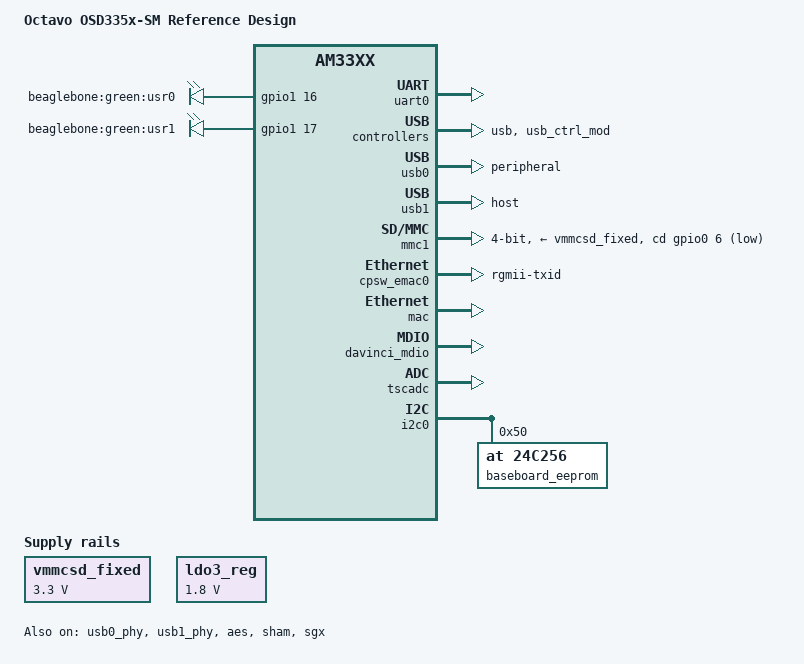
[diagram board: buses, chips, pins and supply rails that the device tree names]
/dts-v1/;

#include "osd335x-sm.dtsi"

/ {

	leds {
		pinctrl-names = "default", "sleep";
		pinctrl-0 = <&user_leds_default>;
		pinctrl-1 = <&user_leds_sleep>;

		compatible = "gpio-leds";

		led@2 {
			label = "beaglebone:green:usr0";
			gpios = <&gpio1 16 GPIO_ACTIVE_HIGH>;
			linux,default-trigger = "mmc0";
			default-state = "off";
		};

		led@3 {
			label = "beaglebone:green:usr1";
			gpios = <&gpio1 17 GPIO_ACTIVE_HIGH>;
			linux,default-trigger = "cpu0";
			default-state = "off";
		};
	};

	vmmcsd_fixed: fixedregulator@0 {
		compatible = "regulator-fixed";
		regulator-name = "vmmcsd_fixed";
		regulator-min-microvolt = <3300000>;
		regulator-max-microvolt = <3300000>;
	};
};

&uart0 {
	pinctrl-names = "default";
	pinctrl-0 = <&uart0_pins>;

	status = "okay";
};

&usb {
	status = "okay";
};

&usb_ctrl_mod {
	status = "okay";
};

&usb0_phy {
	status = "okay";
};

&usb1_phy {
	status = "okay";
};

&usb0 {
	status = "okay";
	dr_mode = "peripheral";
};

&usb1 {
	status = "okay";
	dr_mode = "host";
};

&cppi41dma  {
	status = "okay";
};

&ldo3_reg {
	regulator-min-microvolt = <1800000>;
	regulator-max-microvolt = <1800000>;
	regulator-always-on;
};

&mmc1 {
	status = "okay";
	bus-width = <0x4>;
	pinctrl-names = "default";
	pinctrl-0 = <&mmc1_pins>;
	cd-gpios = <&gpio0 6 GPIO_ACTIVE_LOW>;
	vmmc-supply = <&vmmcsd_fixed>;
};

&cpu0_opp_table {
	/*
	 * All PG 2.0 silicon may not support 1GHz but some of the early
	 * BeagleBone Blacks have PG 2.0 silicon which is guaranteed
	 * to support 1GHz OPP so enable it for PG 2.0 on this board.
	 */
	oppnitro@1000000000 {
		opp-supported-hw = <0x06 0x0100>;
	};
};

&cpsw_emac0 {
	phy_id = <&davinci_mdio>, <4>;
	phy-mode = "rgmii-txid";
};

&mac {
	pinctrl-names = "default", "sleep";
	pinctrl-0 = <&cpsw_default>;
	pinctrl-1 = <&cpsw_sleep>;
	slaves = <1>;
	status = "okay";
};

&davinci_mdio {
	pinctrl-names = "default", "sleep";
	pinctrl-0 = <&davinci_mdio_default>;
	pinctrl-1 = <&davinci_mdio_sleep>;
	status = "okay";
};

&tscadc {
	status = "okay";
};

&am335x_adc {
	ti,adc-channels = <0 1 2 3 4 5 6 7>;
};

&aes {
	status = "okay";
};

&sham {
	status = "okay";
};

&wkup_m3_ipc {
	ti,scale-data-fw = "am335x-bone-scale-data.bin";
};

&rtc {
	/*clocks = <&clk_32768_ck>, <&clkdiv32k_ick>;
	clock-names = "ext-clk", "int-clk";*/
	system-power-controller;
};

&sgx {
	status = "okay";
};

&am33xx_pinmux {

	user_leds_default: user_leds_default {
		pinctrl-single,pins = <
			AM33XX_IOPAD(0x840, PIN_OUTPUT_PULLDOWN | MUX_MODE7)	/* gpmc_a0.gpio1_16 */
			AM33XX_IOPAD(0x844, PIN_OUTPUT_PULLDOWN | MUX_MODE7)	/* gpmc_a1.gpio1_17 */
		>;
	};

	user_leds_sleep: user_leds_sleep {
		pinctrl-single,pins = <
			AM33XX_IOPAD(0x840, PIN_OUTPUT_PULLDOWN | MUX_MODE7)	/* gpmc_a0.gpio1_16 */
			AM33XX_IOPAD(0x844, PIN_OUTPUT_PULLDOWN | MUX_MODE7)	/* gpmc_a1.gpio1_17 */
		>;
	};

	i2c0_pins: pinmux_i2c0_pins {
		pinctrl-single,pins = <
			AM33XX_IOPAD(0x988, PIN_INPUT_PULLUP | MUX_MODE0)		/* i2c0_sda.i2c0_sda */
			AM33XX_IOPAD(0x98c, PIN_INPUT_PULLUP | MUX_MODE0)		/* i2c0_scl.i2c0_scl */
		>;
	};

	uart0_pins: pinmux_uart0_pins {
		pinctrl-single,pins = <
			AM33XX_IOPAD(0x970, PIN_INPUT_PULLUP | MUX_MODE0)		/* uart0_rxd.uart0_rxd */
			AM33XX_IOPAD(0x974, PIN_OUTPUT_PULLDOWN | MUX_MODE0)	/* uart0_txd.uart0_txd */
		>;
	};

	mmc1_pins: pinmux_mmc1_pins {
		pinctrl-single,pins = <
			AM33XX_IOPAD(0x960, PIN_INPUT | MUX_MODE7) /* GPIO0_6 */
		>;
	};
	
	cpsw_default: cpsw_default {
		pinctrl-single,pins = <
			/* Slave 1 */
			AM33XX_IOPAD(0x914, PIN_OUTPUT_PULLDOWN | MUX_MODE2)	/* mii1_txen.rgmii1_tctl */
			AM33XX_IOPAD(0x918, PIN_INPUT_PULLDOWN | MUX_MODE2)		/* mii1_rxdv.rgmii1_rctl */
			AM33XX_IOPAD(0x91c, PIN_OUTPUT_PULLDOWN | MUX_MODE2)	/* mii1_txd3.rgmii1_txd3 */
			AM33XX_IOPAD(0x920, PIN_OUTPUT_PULLDOWN | MUX_MODE2)	/* mii1_txd2.rgmii1_txd2 */
			AM33XX_IOPAD(0x924, PIN_OUTPUT_PULLDOWN | MUX_MODE2)	/* mii1_txd1.rgmii1_txd1 */
			AM33XX_IOPAD(0x928, PIN_OUTPUT_PULLDOWN | MUX_MODE2)	/* mii1_txd0.rgmii1_txd0 */
			AM33XX_IOPAD(0x92c, PIN_OUTPUT_PULLDOWN | MUX_MODE2)	/* mii1_txclk.rgmii1_txclk */
			AM33XX_IOPAD(0x930, PIN_INPUT_PULLDOWN | MUX_MODE2)		/* mii1_rxclk.rgmii1_rxclk */
			AM33XX_IOPAD(0x934, PIN_INPUT_PULLDOWN | MUX_MODE2)		/* mii1_rxd3.rgmii1_rxd3 */
			AM33XX_IOPAD(0x938, PIN_INPUT_PULLDOWN | MUX_MODE2)		/* mii1_rxd2.rgmii1_rxd2 */
			AM33XX_IOPAD(0x93c, PIN_INPUT_PULLDOWN | MUX_MODE2)		/* mii1_rxd1.rgmii1_rxd1 */
			AM33XX_IOPAD(0x940, PIN_INPUT_PULLDOWN | MUX_MODE2)		/* mii1_rxd0.rgmii1_rxd0 */
		>;
	};
	
	cpsw_sleep: cpsw_sleep {
		pinctrl-single,pins = <
			/* Slave 1 reset value */
			AM33XX_IOPAD(0x914, PIN_INPUT_PULLDOWN | MUX_MODE7)
			AM33XX_IOPAD(0x918, PIN_INPUT_PULLDOWN | MUX_MODE7)
			AM33XX_IOPAD(0x91c, PIN_INPUT_PULLDOWN | MUX_MODE7)
			AM33XX_IOPAD(0x920, PIN_INPUT_PULLDOWN | MUX_MODE7)
			AM33XX_IOPAD(0x924, PIN_INPUT_PULLDOWN | MUX_MODE7)
			AM33XX_IOPAD(0x928, PIN_INPUT_PULLDOWN | MUX_MODE7)
			AM33XX_IOPAD(0x92c, PIN_INPUT_PULLDOWN | MUX_MODE7)
			AM33XX_IOPAD(0x930, PIN_INPUT_PULLDOWN | MUX_MODE7)
			AM33XX_IOPAD(0x934, PIN_INPUT_PULLDOWN | MUX_MODE7)
			AM33XX_IOPAD(0x938, PIN_INPUT_PULLDOWN | MUX_MODE7)
			AM33XX_IOPAD(0x93c, PIN_INPUT_PULLDOWN | MUX_MODE7)
			AM33XX_IOPAD(0x940, PIN_INPUT_PULLDOWN | MUX_MODE7)
		>;
	};
	
	davinci_mdio_default: davinci_mdio_default {
		pinctrl-single,pins = <
			/* MDIO */
			AM33XX_IOPAD(0x948, PIN_INPUT_PULLUP | SLEWCTRL_FAST | MUX_MODE0)	/* mdio_data.mdio_data */
			AM33XX_IOPAD(0x94c, PIN_OUTPUT_PULLUP | MUX_MODE0)					/* mdio_clk.mdio_clk */
		>;
	};

	davinci_mdio_sleep: davinci_mdio_sleep {
		pinctrl-single,pins = <
			/* MDIO reset value */
			AM33XX_IOPAD(0x948, PIN_INPUT_PULLDOWN | MUX_MODE7)
			AM33XX_IOPAD(0x94c, PIN_INPUT_PULLDOWN | MUX_MODE7)
		>;
	};
	
	ethernet_interrupt: ethernet_interrupt {
		pinctrl-single,pins = <
			AM33XX_IOPAD(0x908, PIN_INPUT_PULLDOWN | MUX_MODE7)	/* mii1_col.gpio3_0 */
		>;
	};

};

&i2c0 {

	baseboard_eeprom: baseboard_eeprom@50 {
		compatible = "at,24c256";
		reg = <0x50>;

		#address-cells = <1>;
		#size-cells = <1>;
		baseboard_data: baseboard_data@0 {
		  reg = <0 0x100>;
		};
	};

};

/ {
	model = "Octavo OSD335x-SM Reference Design";
	compatible = "oct,osd335x-reference-design", "ti,am335x-bone", "ti,am33xx";
};
